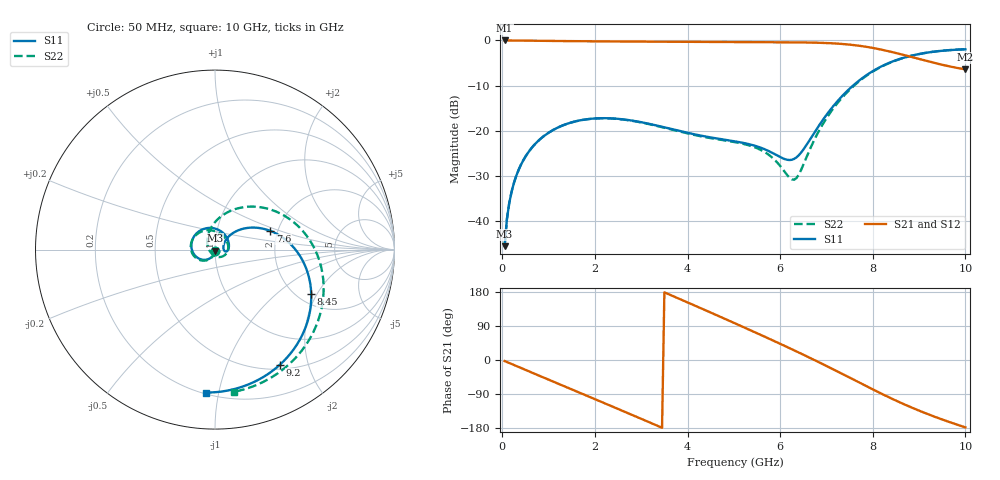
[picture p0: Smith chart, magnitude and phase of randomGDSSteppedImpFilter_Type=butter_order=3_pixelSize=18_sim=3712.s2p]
! freq	dB(S11)	phase(S11)	dB(S12)	phase(S12)
!  dB(S21)	phase(S21)	dB(S22)	phase(S22)
!S-par simulation data
#  GHz  S  DB  R 50
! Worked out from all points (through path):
!   200 points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, 50 MHz to 10 GHz, reference 50 ohm
!   highest |S21| = -0.01 dB at 50 MHz (marker M1); lowest = -6.4 dB at 10 GHz (marker M2)
!   group delay of S21, straight-line fit = 153 ps
!   lowest |S11| = -45.6 dB at 50 MHz (marker M3), VSWR 1.01, Z = 50 - j0.527 ohm
!   |S11| at or under -10 dB: start of sweep to 7.574 GHz
!   |S22| runs from -45.6 to -1.9 dB; largest |S21 - S12| = 0
!   S11 on the Smith chart (normalised r, x): 50 MHz: 1.00, -0.01; 7.6 GHz: 1.82, +0.43; 8.45 GHz: 2.36, -1.79; 9.2 GHz: 0.56, -1.57; 10 GHz: 0.21, -0.92
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0.05  -45.56 -91.9  -0.01 -2.7  -0.01 -2.7  -45.56 -91.6
0.1  -39.54 -94.9  -0.01 -5.3  -0.01 -5.3  -39.54 -94.5
0.2  -33.53 -100.5  -0.02 -10.5  -0.02 -10.5  -33.53 -99.6
0.5  -25.73 -117.2  -0.04 -26.0  -0.04 -26.0  -25.73 -114.8
1.15  -19.54 -153.3  -0.12 -59.6  -0.12 -59.6  -19.54 -147.5
1.75  -17.56 173.6  -0.18 -90.5  -0.18 -90.5  -17.58 -176.8
2.5  -17.36 131.8  -0.23 -129.1  -0.23 -129.1  -17.40 147.3
2.95  -18.01 106.3  -0.26 -152.6  -0.26 -152.6  -18.07 125.8
3.4  -19.00 80.8  -0.28 -176.2  -0.28 -176.2  -19.09 103.9
4.15  -20.79 41.0  -0.31 144.0  -0.31 144.0  -20.94 64.4
4.6  -21.65 20.7  -0.34 119.8  -0.34 119.8  -21.81 37.4
5.05  -22.40 4.1  -0.36 95.4  -0.36 95.4  -22.57 7.6
5.65  -24.03 -9.7  -0.39 62.4  -0.39 62.4  -24.63 -38.1
6.3  -26.24 17.5  -0.43 25.7  -0.43 25.7  -30.85 -145.3
6.7  -21.05 42.8  -0.48 2.3  -0.48 2.3  -22.81 126.0
7.15  -14.51 37.4  -0.65 -24.9  -0.65 -24.9  -15.03 82.7
7.6  -9.77 18.8  -1.04 -52.8  -1.04 -52.8  -9.97 49.1
7.95  -7.12 1.2  -1.57 -74.6  -1.57 -74.6  -7.22 25.0
8.35  -4.98 -19.6  -2.41 -98.5  -2.41 -98.5  -5.04 -0.6
8.45  -4.58 -24.7  -2.66 -104.3  -2.66 -104.3  -4.62 -6.6
9.2  -2.66 -60.6  -4.65 -143.4  -4.65 -143.4  -2.66 -47.3
10  -1.96 -93.4  -6.40 -177.8  -6.40 -177.8  -1.94 -82.6
